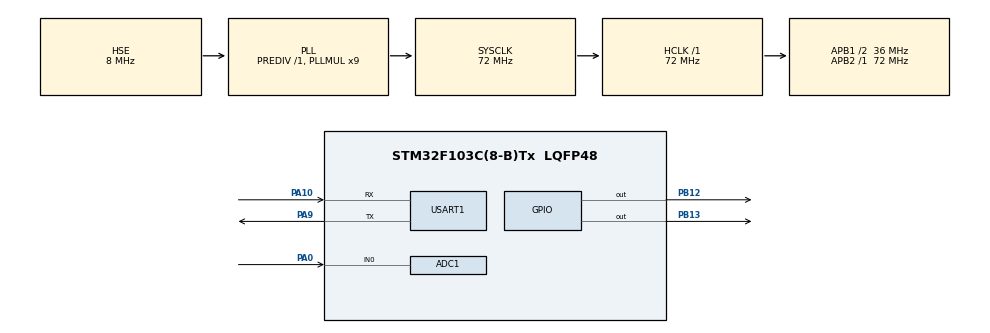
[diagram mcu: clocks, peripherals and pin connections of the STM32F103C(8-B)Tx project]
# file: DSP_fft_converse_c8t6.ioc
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ADC1.Channel-2\#ChannelRegularConversion=ADC_CHANNEL_0
ADC1.Channel-4\#ChannelRegularConversion=ADC_CHANNEL_0
ADC1.ContinuousConvMode=ENABLE
ADC1.NbrOfConversion=2
ADC1.NbrOfConversionFlag=1
ADC1.Rank-2\#ChannelRegularConversion=1
ADC1.Rank-4\#ChannelRegularConversion=2
ADC1.SamplingTime-2\#ChannelRegularConversion=ADC_SAMPLETIME_55CYCLES_5
ADC1.SamplingTime-4\#ChannelRegularConversion=ADC_SAMPLETIME_55CYCLES_5
ADC1.master=1
Dma.ADC1.0.Direction=DMA_PERIPH_TO_MEMORY
Dma.ADC1.0.Instance=DMA1_Channel1
Dma.ADC1.0.MemDataAlignment=DMA_MDATAALIGN_HALFWORD
Dma.ADC1.0.MemInc=DMA_MINC_ENABLE
Dma.ADC1.0.Mode=DMA_CIRCULAR
Dma.ADC1.0.PeriphDataAlignment=DMA_PDATAALIGN_HALFWORD
Dma.ADC1.0.PeriphInc=DMA_PINC_DISABLE
Dma.ADC1.0.Priority=DMA_PRIORITY_LOW
Dma.Request0=ADC1
Mcu.Family=STM32F1
Mcu.Name=STM32F103C(8-B)Tx
Mcu.Package=LQFP48
NVIC.DMA1_Channel1_IRQn=true\:0\:0\:false\:false\:true\:false\:true\:true
NVIC.PriorityGroup=NVIC_PRIORITYGROUP_4
NVIC.TIM2_IRQn=true\:0\:0\:false\:false\:true\:true\:true\:true
PA0-WKUP.Signal=ADCx_IN0
PA10.Mode=Asynchronous
PA10.Signal=USART1_RX
PA13.Mode=Serial_Wire
PA13.Signal=SYS_JTMS-SWDIO
PA14.Mode=Serial_Wire
PA14.Signal=SYS_JTCK-SWCLK
PA9.Mode=Asynchronous
PA9.Signal=USART1_TX
PB12.Signal=GPIO_Output
PB13.Signal=GPIO_Output
PD0-OSC_IN.Mode=HSE-External-Oscillator
PD0-OSC_IN.Signal=RCC_OSC_IN
PD1-OSC_OUT.Mode=HSE-External-Oscillator
PD1-OSC_OUT.Signal=RCC_OSC_OUT
ProjectManager.HeapSize=0x200
ProjectManager.StackSize=0x400
ProjectManager.TargetToolchain=MDK-ARM V5.32
RCC.ADCPresc=RCC_ADCPCLK2_DIV6
RCC.AHBFreq_Value=72000000
RCC.APB1CLKDivider=RCC_HCLK_DIV2
RCC.APB1Freq_Value=36000000
RCC.APB1TimFreq_Value=72000000
RCC.APB2Freq_Value=72000000
RCC.APB2TimFreq_Value=72000000
RCC.HCLKFreq_Value=72000000
RCC.PLLMUL=RCC_PLL_MUL9
RCC.PLLSourceVirtual=RCC_PLLSOURCE_HSE
RCC.SYSCLKFreq_VALUE=72000000
RCC.SYSCLKSource=RCC_SYSCLKSOURCE_PLLCLK
RCC.USBFreq_Value=72000000
SH.ADCx_IN0.0=ADC1_IN0,IN0
STMicroelectronics.X-CUBE-ALGOBUILD.1.4.0.LibraryCcDSPOoLibraryJjDSPOoLibrary=true
TIM2.Prescaler=72-1
USART1.VirtualMode=VM_ASYNC
VP_STMicroelectronics.X-CUBE-ALGOBUILD_VS_DSPOoLibraryJjLibrary_1.4.0_1.4.0.Mode=DSPOoLibraryJjLibrary
VP_TIM2_VS_ClockSourceINT.Mode=Internal
board=custom

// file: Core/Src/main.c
/* USER CODE BEGIN Header */
/**
  ******************************************************************************
  * @file           : main.c
  * @brief          : Main program body
  ******************************************************************************
  * @attention
  *
  * Copyright (c) 2025 STMicroelectronics.
  * All rights reserved.
  *
  * This software is licensed under terms that can be found in the LICENSE file
  * in the root directory of this software component.
  * If no LICENSE file comes with this software, it is provided AS-IS.
  *
  ******************************************************************************
  */
/* USER CODE END Header */
#include "main.h"
#include "adc.h"
#include "dma.h"
#include "tim.h"
#include "usart.h"
#include "gpio.h"

/* USER CODE BEGIN Includes */
#include "oled.h"
#include "arm_math.h"
#include "math.h"
#include "delay.h"
#include "string.h"
#include "stdio.h"
/**
 * @file      ：离散傅里叶变换
 * @brief     ：1.使用相关函数对输入的信号进行傅里叶变换，采样频率20kHz，有采样定理，输出的频率范围为0-10kHz
									2.输入信号为了满足基四FFT，所以需要将信号长度设定为4的n次方，不足补零，因此每个输出频率分辨率
									为20k/256=78Hz
									3.因为环境中以及信号采集时会有低频分量，所以结果中会有部分低频分量。
									4.因为采集时的幅度没有进行对应转化，同时我们只关注于频率占比，所以输出幅值表示该频率占比多少。
									5.由于输出为双边频率谱，所以我们只需要关注正频率即可，即输出的前一半数据。
 * @details   ：1.可以通过调节咪头的增益引脚调整相关参数，这里使用默认值。
									2.使用引脚：OLED:SCL->PB12
																	 SDA->PB13
															MAX9814:OUT->PA0(ADC输入)。
 * @date ：2025年4月30日
 */

/* USER CODE END Includes */

/* USER CODE BEGIN PV */
int fputc(int c,FILE *stream)
{
	uint8_t ch[1]={c};
	HAL_UART_Transmit(&huart1,ch,1,0xffff);
	return c;
}
int fgetc(FILE *stream)
{
	uint8_t ch[1];
	HAL_UART_Receive(&huart1,ch,1,0xffff);
	return ch[0];
}
/* USER CODE END PV */

void SystemClock_Config(void);

/* USER CODE BEGIN 0 */
	#define FFT_LENGTH		256 		//傅里叶变换长
	float fft_inputbuf[FFT_LENGTH*2];//时域的复数输入
	uint32_t ADC_DataNum=0;			//adc采样次数
	uint32_t ADCValue=0;				//adc采样值
	extern uint8_t ADC_TimeOutFlag;			//定时器到时间标志
	float fft_outputbuf[FFT_LENGTH];		//频域的幅值输（频率占比程度）

/* USER CODE END 0 */

int main(void)
{

  /* MCU Configuration--------------------------------------------------------*/

  /* Reset of all peripherals, Initializes the Flash interface and the Systick. */
  HAL_Init();

  /* Configure the system clock */
  SystemClock_Config();

  /* Initialize all configured peripherals */
  MX_GPIO_Init();
  MX_DMA_Init();
  MX_ADC1_Init();
  MX_TIM2_Init();
  MX_USART1_UART_Init();
  /* USER CODE BEGIN 2 */
	OLED_Init();
	HAL_TIM_Base_Start_IT(&htim2);
	HAL_ADC_Start_DMA(&hadc1,&ADCValue,1); //开启ADC的DMA传输

	arm_cfft_radix4_instance_f32 scfft;//
	arm_cfft_radix4_init_f32(&scfft, FFT_LENGTH, 0, 1);//初始化傅里叶变换函数
  /* USER CODE END 2 */

  /* Infinite loop */
  /* USER CODE BEGIN WHILE */
  while (1)
  {
		if(ADC_TimeOutFlag)
		{
			ADC_TimeOutFlag = 0;//到达时间后进行采
			if(ADC_DataNum < FFT_LENGTH)
			{
				fft_inputbuf[2*ADC_DataNum]=ADCValue;
				fft_inputbuf[2*ADC_DataNum+1]=0;
				ADC_DataNum++;
			}
			else//到达fft长度后转换到频域，输出幅值的数组
			{

				HAL_TIM_Base_Stop(&htim2);
				ADC_DataNum = 0;
				arm_cfft_radix4_f32(&scfft, fft_inputbuf);//原地转化到频域
				arm_cmplx_mag_f32(fft_inputbuf,fft_outputbuf,FFT_LENGTH);		//幅度输出
				OLED_Clear();
				for(uint16_t i=0;i<128;i++)//显示正频率频谱
				{
				float	Amplitude=(fft_outputbuf[i]-2000)*64.0/4096.0;
				OLED_DrawLine(i,64,i,64-(int16_t)Amplitude);
				}

				OLED_Update();
				HAL_TIM_Base_Start(&htim2);

			}
		}

	//	printf("%d\r\n",ADCValue);

    /* USER CODE END WHILE */

  }
}

void SystemClock_Config(void)
{
  RCC_OscInitTypeDef RCC_OscInitStruct = {0};
  RCC_ClkInitTypeDef RCC_ClkInitStruct = {0};
  RCC_PeriphCLKInitTypeDef PeriphClkInit = {0};

  /** Initializes the RCC Oscillators according to the specified parameters
  * in the RCC_OscInitTypeDef structure.
  */
  RCC_OscInitStruct.OscillatorType = RCC_OSCILLATORTYPE_HSE;
  RCC_OscInitStruct.HSEState = RCC_HSE_ON;
  RCC_OscInitStruct.HSEPredivValue = RCC_HSE_PREDIV_DIV1;
  RCC_OscInitStruct.HSIState = RCC_HSI_ON;
  RCC_OscInitStruct.PLL.PLLState = RCC_PLL_ON;
  RCC_OscInitStruct.PLL.PLLSource = RCC_PLLSOURCE_HSE;
  RCC_OscInitStruct.PLL.PLLMUL = RCC_PLL_MUL9;
  if (HAL_RCC_OscConfig(&RCC_OscInitStruct) != HAL_OK)
  {
    Error_Handler();
  }

  /** Initializes the CPU, AHB and APB buses clocks
  */
  RCC_ClkInitStruct.ClockType = RCC_CLOCKTYPE_HCLK|RCC_CLOCKTYPE_SYSCLK
                              |RCC_CLOCKTYPE_PCLK1|RCC_CLOCKTYPE_PCLK2;
  RCC_ClkInitStruct.SYSCLKSource = RCC_SYSCLKSOURCE_PLLCLK;
  RCC_ClkInitStruct.AHBCLKDivider = RCC_SYSCLK_DIV1;
  RCC_ClkInitStruct.APB1CLKDivider = RCC_HCLK_DIV2;
  RCC_ClkInitStruct.APB2CLKDivider = RCC_HCLK_DIV1;

  if (HAL_RCC_ClockConfig(&RCC_ClkInitStruct, FLASH_LATENCY_2) != HAL_OK)
  {
    Error_Handler();
  }
  PeriphClkInit.PeriphClockSelection = RCC_PERIPHCLK_ADC;
  PeriphClkInit.AdcClockSelection = RCC_ADCPCLK2_DIV6;
  if (HAL_RCCEx_PeriphCLKConfig(&PeriphClkInit) != HAL_OK)
  {
    Error_Handler();
  }
}

void Error_Handler(void)
{
  __disable_irq();
  while (1)
  {
  }
}
